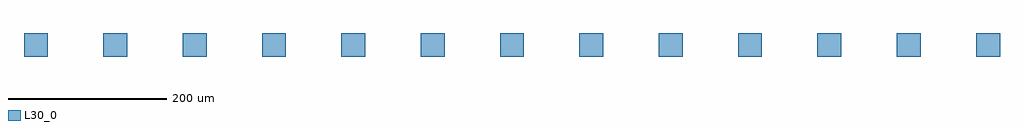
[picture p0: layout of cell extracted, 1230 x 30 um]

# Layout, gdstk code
import gdstk
lib = gdstk.Library(unit=1e-6, precision=1e-09)
def R(c, l, rs):  # rectangles x0, y0, x1, y1
    for r in rs: c.add(gdstk.rectangle(r[:2], r[2:], *l))
L30_0 = (30, 0)

extracted = lib.new_cell('extracted')
R(extracted, L30_0, [(-1614.25,-25,-1584.25,5), (-1514.25,-25,-1484.25,5), (-1514.25,-25,-1484.25,5), (-1414.25,-25,-1384.25,5), (-1414.25,-25,-1384.25,5), (-1414.25,-25,-1384.25,5), (-1314.25,-25,-1284.25,5), (-1314.25,-25,-1284.25,5), (-1314.25,-25,-1284.25,5), (-1314.25,-25,-1284.25,5), (-1214.25,-25,-1184.25,5), (-1214.25,-25,-1184.25,5), (-1214.25,-25,-1184.25,5), (-1214.25,-25,-1184.25,5), (-1214.25,-25,-1184.25,5), (-1114.25,-25,-1084.25,5), (-1114.25,-25,-1084.25,5), (-1114.25,-25,-1084.25,5), (-1114.25,-25,-1084.25,5), (-1114.25,-25,-1084.25,5), (-1114.25,-25,-1084.25,5), (-1014.25,-25,-984.25,5), (-1014.25,-25,-984.25,5), (-1014.25,-25,-984.25,5), (-1014.25,-25,-984.25,5), (-1014.25,-25,-984.25,5), (-1014.25,-25,-984.25,5), (-1014.25,-25,-984.25,5), (-914.25,-25,-884.25,5), (-914.25,-25,-884.25,5), (-914.25,-25,-884.25,5), (-914.25,-25,-884.25,5), (-914.25,-25,-884.25,5), (-914.25,-25,-884.25,5), (-914.25,-25,-884.25,5), (-914.25,-25,-884.25,5), (-814.25,-25,-784.25,5), (-814.25,-25,-784.25,5), (-814.25,-25,-784.25,5), (-814.25,-25,-784.25,5), (-814.25,-25,-784.25,5), (-814.25,-25,-784.25,5), (-814.25,-25,-784.25,5), (-814.25,-25,-784.25,5), (-814.25,-25,-784.25,5), (-714.25,-25,-684.25,5), (-714.25,-25,-684.25,5), (-714.25,-25,-684.25,5), (-714.25,-25,-684.25,5), (-714.25,-25,-684.25,5), (-714.25,-25,-684.25,5), (-714.25,-25,-684.25,5), (-714.25,-25,-684.25,5), (-714.25,-25,-684.25,5), (-714.25,-25,-684.25,5), (-614.25,-25,-584.25,5), (-614.25,-25,-584.25,5), (-614.25,-25,-584.25,5), (-614.25,-25,-584.25,5), (-614.25,-25,-584.25,5), (-614.25,-25,-584.25,5), (-614.25,-25,-584.25,5), (-614.25,-25,-584.25,5), (-614.25,-25,-584.25,5), (-614.25,-25,-584.25,5), (-614.25,-25,-584.25,5), (-514.25,-25,-484.25,5), (-514.25,-25,-484.25,5), (-514.25,-25,-484.25,5), (-514.25,-25,-484.25,5), (-514.25,-25,-484.25,5), (-514.25,-25,-484.25,5), (-514.25,-25,-484.25,5), (-514.25,-25,-484.25,5), (-514.25,-25,-484.25,5), (-514.25,-25,-484.25,5), (-514.25,-25,-484.25,5), (-514.25,-25,-484.25,5), (-414.25,-25,-384.25,5), (-414.25,-25,-384.25,5), (-414.25,-25,-384.25,5), (-414.25,-25,-384.25,5), (-414.25,-25,-384.25,5), (-414.25,-25,-384.25,5), (-414.25,-25,-384.25,5), (-414.25,-25,-384.25,5), (-414.25,-25,-384.25,5), (-414.25,-25,-384.25,5), (-414.25,-25,-384.25,5), (-414.25,-25,-384.25,5), (-414.25,-25,-384.25,5)])

lib.write_gds('extracted.gds')
